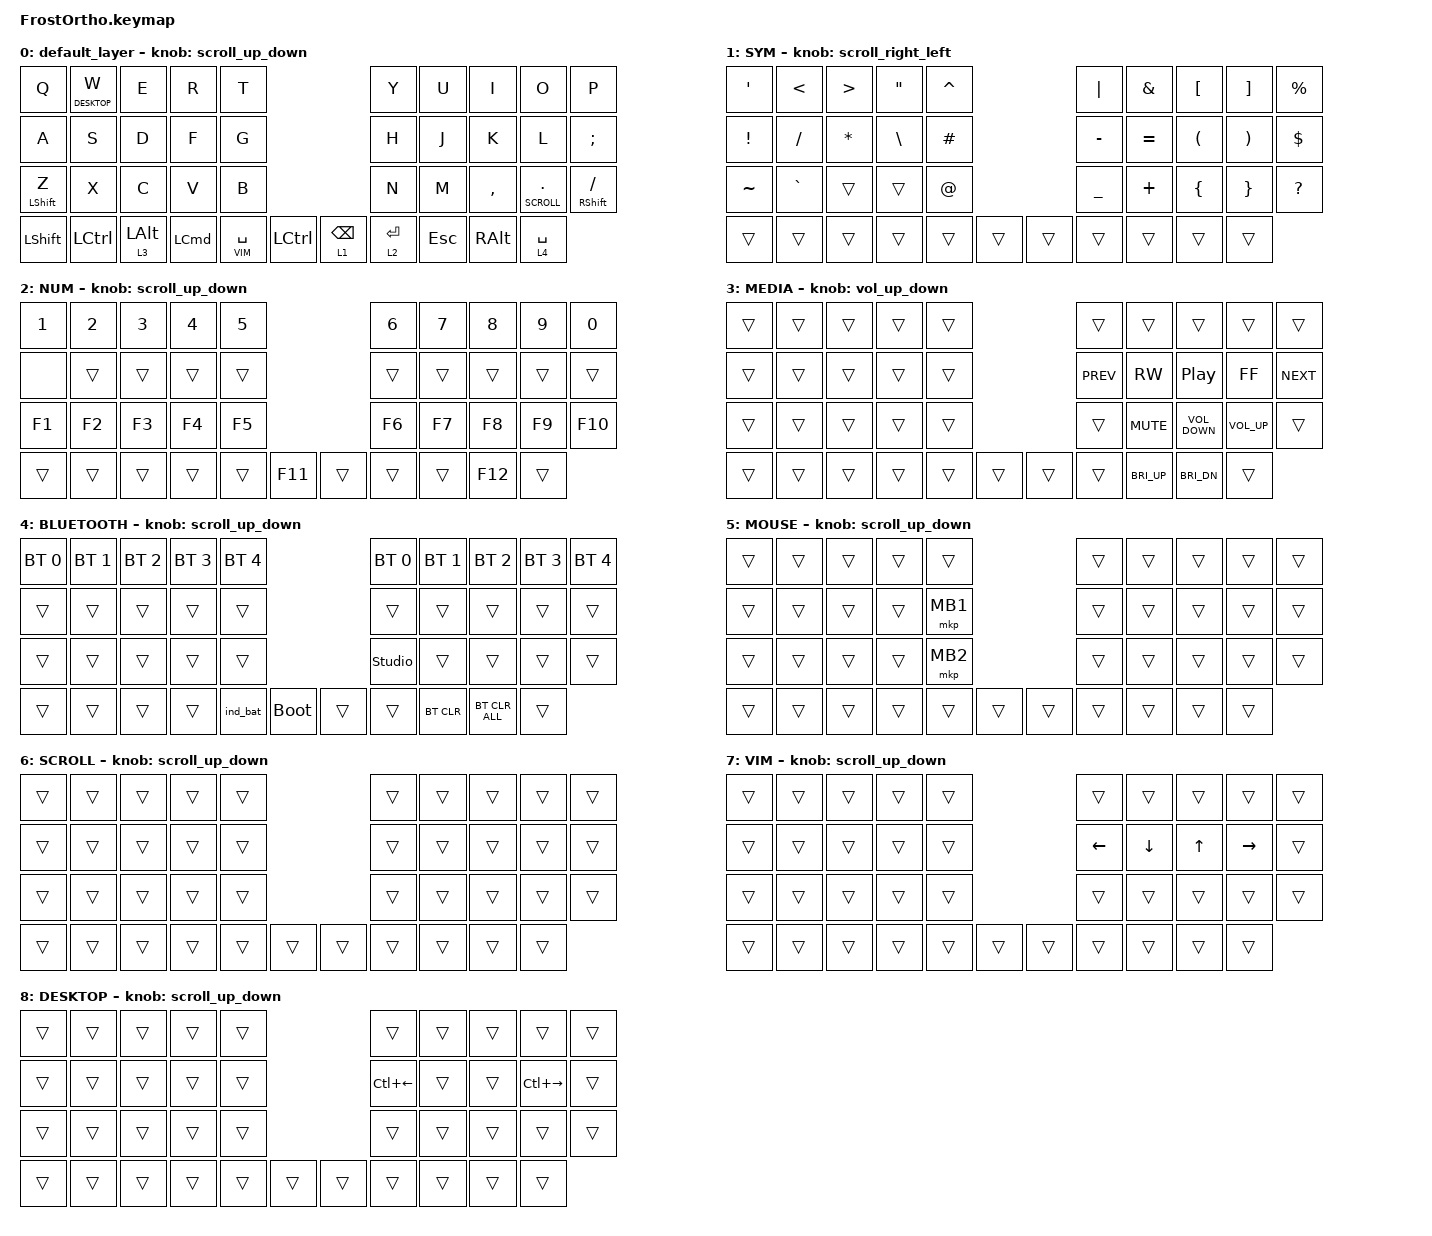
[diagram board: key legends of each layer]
#include <input/processors.dtsi>
#include <behaviors.dtsi>
#include <behaviors/rgbled_widget.dtsi>
#include <dt-bindings/zmk/bt.h>
#include <dt-bindings/zmk/keys.h>
#include <dt-bindings/zmk/pointing.h>
#include <behaviors/runtime-sensor-rotate.dtsi>

#define ZMK_POINTING_DEFAULT_SCRL_VAL 200  // 捲動量（為4K螢幕加倍）
#define MOUSE 5    // 滑鼠層（軌跡球自動切層目標）
#define SCROLL 6   // 捲動層（軌跡球變捲輪）
#define VIM 7      // Vim方向鍵層（H/J/K/L）
#define DESKTOP 8  // 桌面切換層（長按W啟用）

&mt {
    flavor = "balanced";
    quick-tap-ms = <0>;
    require-prior-idle-ms = <150>;   // 快速打字時直接判定tap，消除黏滯感
};

&lt {
    tapping-term-ms = <200>;
    quick-tap-ms = <200>;
    flavor = "balanced";
};

// AML 點擊時延長自動滑鼠層超時
&mkp_input_listener { input-processors = <&zip_temp_layer MOUSE 250>; };

/ {
    combos {
        compatible = "zmk,combos";

        layer4_ESC {
            bindings = <&lt 4 ESC>;
            key-positions = <36 35>;  // 左右內側拇指鍵同按 → 按住=藍牙層，點按=ESC
        };

        tab {
            bindings = <&kp TAB>;
            key-positions = <1 2>;    // W+E = Tab
            slow-release;
        };

        enter {
            bindings = <&kp ENTER>;
            key-positions = <16 17>;  // J+K = Enter
            slow-release;
        };

        input_switch {
            bindings = <&input_tap>;
            key-positions = <11 12>;  // S+D = 切換輸入法
            slow-release;
        };
    };

    macros {
        to_layer_0: to_layer_0 {
            compatible = "zmk,behavior-macro-one-param";
            #binding-cells = <1>;
            bindings = <&to 0 &macro_param_1to1 &kp MACRO_PLACEHOLDER>;
            label = "TO_LAYER_0";
        };

        input_tap: input_tap {  // Ctrl+Space 單次點按，不會因按住而重複
            compatible = "zmk,behavior-macro";
            #binding-cells = <0>;
            bindings = <&macro_tap &kp LC(SPACE)>;
            label = "INPUT_TAP";
        };
    };

    behaviors {
        lt_to_layer_0: lt_to_layer_0 {
            compatible = "zmk,behavior-hold-tap";
            label = "LAYER_TAP_TO_0";
            bindings = <&mo>, <&to_layer_0>;

            #binding-cells = <2>;
            tapping-term-ms = <200>;
        };
        // Keymap Editor用
        scroll_up_down: behavior_sensor_rotate_mouse_wheel_up_down {
            compatible = "zmk,behavior-sensor-rotate";
            #sensor-binding-cells = <0>;
            tap-ms = <20>;
            bindings = <&msc SCRL_UP>, <&msc SCRL_DOWN>;
        };
        scroll_right_left: mouse_wheel_right_left {
            compatible = "zmk,behavior-sensor-rotate";
            #sensor-binding-cells = <0>;
            bindings = <&msc SCRL_LEFT>, <&msc SCRL_RIGHT>;
            tap-ms = <20>;
        };
        vol_up_down: vol_up_down {
            compatible = "zmk,behavior-sensor-rotate";
            #sensor-binding-cells = <0>;
            tap-ms = <5>;
            bindings = <&kp C_VOL_DN>, <&kp C_VOL_UP>;
        };
        // DYA Studio用
        rsr_vol: rsr_vol {
            compatible = "zmk,behavior-runtime-sensor-rotate";
            #sensor-binding-cells = <0>;
            tap-ms = <5>;
            cw-binding = <&kp C_VOL_DN>;
            ccw-binding = <&kp C_VOL_UP>;
        };
    };

    keymap {
        compatible = "zmk,keymap";

        default_layer {  // Layer 0 - QWERTY
            bindings = <
&kp Q             &lt DESKTOP W  &kp E           &kp R             &kp T                                                &kp Y                   &kp U           &kp I      &kp O              &kp P
&kp A             &kp S          &kp D           &kp F             &kp G                                                &kp H                   &kp J           &kp K      &kp L              &kp SEMICOLON
&mt LEFT_SHIFT Z  &kp X          &kp C           &kp V             &kp B                                                &kp N                   &kp M           &kp COMMA  &lt SCROLL DOT     &mt RIGHT_SHIFT SLASH
&kp LEFT_SHIFT    &kp LCTRL      &lt 3 LEFT_ALT  &kp LEFT_COMMAND  &lt VIM SPACE  &kp LCTRL      &lt 1 BACKSPACE          &lt_to_layer_0 2 ENTER  &kp ESC         &kp RIGHT_ALT          &lt 4 SPACE
            >;

            sensor-bindings = <&scroll_up_down>;  // Encoder: 縦スクロール
        };

        SYM {  // Layer 1 - 符號層
            bindings = <
&kp SINGLE_QUOTE  &kp LESS_THAN  &kp GREATER_THAN  &kp DOUBLE_QUOTES  &kp CARET                        &kp PIPE        &kp AMPERSAND  &kp LEFT_BRACKET      &kp RIGHT_BRACKET      &kp PERCENT
&kp EXCLAMATION   &kp SLASH      &kp ASTRK         &kp BACKSLASH      &kp HASH                         &kp MINUS       &kp EQUAL      &kp LEFT_PARENTHESIS  &kp RIGHT_PARENTHESIS  &kp DOLLAR
&kp TILDE         &kp GRAVE      &trans            &trans             &kp AT_SIGN                       &kp UNDERSCORE  &kp PLUS       &kp LEFT_BRACE        &kp RIGHT_BRACE        &kp QUESTION
&trans            &trans         &trans            &trans             &trans       &trans      &trans    &trans          &trans         &trans                 &trans
            >;

            sensor-bindings = <&scroll_right_left>;  // Encoder: 横スクロール
        };

        NUM {  // Layer 2 - 數字與F鍵層
            bindings = <
&kp NUMBER_1  &kp NUMBER_2  &kp NUMBER_3  &kp NUMBER_4  &kp NUMBER_5                        &kp NUMBER_6  &kp NUMBER_7  &kp NUMBER_8  &kp NUMBER_9  &kp N0
&none         &trans        &trans        &trans        &trans                               &trans        &trans        &trans        &trans        &trans
&kp F1        &kp F2        &kp F3        &kp F4        &kp F5                               &kp F6        &kp F7        &kp F8        &kp F9        &kp F10
&trans        &trans        &trans        &trans        &trans       &kp F11      &trans      &trans        &trans        &kp F12       &trans
            >;

            sensor-bindings = <&scroll_up_down>;  // Encoder: 縦スクロール
        };

        MEDIA {  // Layer 3 - 媒體控制層
            bindings = <
&trans  &trans  &trans  &trans  &trans                        &trans      &trans      &trans             &trans           &trans
&trans  &trans  &trans  &trans  &trans                        &kp C_PREV  &kp C_RW    &kp C_PLAY_PAUSE   &kp C_FF         &kp C_NEXT
&trans  &trans  &trans  &trans  &trans                        &trans      &kp C_MUTE  &kp C_VOLUME_DOWN  &kp C_VOLUME_UP  &trans
&trans  &trans  &trans  &trans  &trans  &trans      &trans    &trans      &kp C_BRI_UP  &kp C_BRI_DN     &trans
            >;

            sensor-bindings = <&vol_up_down>;  // Encoder: 音量調整
        };

        BLUETOOTH {  // Layer 4 - 藍牙設定層
            bindings = <
&bt BT_SEL 0  &bt BT_SEL 1  &bt BT_SEL 2  &bt BT_SEL 3  &bt BT_SEL 4                                     &bt BT_SEL 0    &bt BT_SEL 1  &bt BT_SEL 2    &bt BT_SEL 3    &bt BT_SEL 4
&trans        &trans        &trans        &trans        &trans                                              &trans          &trans        &trans          &trans          &trans
&trans        &trans        &trans        &trans        &trans                                              &studio_unlock  &trans        &trans          &trans          &trans
&trans        &trans        &trans        &trans        &ind_bat     &bootloader      &trans                 &trans          &bt BT_CLR    &bt BT_CLR_ALL  &trans
            >;

            sensor-bindings = <&scroll_up_down>;  // Encoder: 縦スクロール
        };

        MOUSE {  // Layer 5 - 軌跡球移動時自動切換，G=左鍵、B=右鍵
            bindings = <
&trans  &trans  &trans  &trans  &trans                         &trans  &trans  &trans  &trans  &trans
&trans  &trans  &trans  &trans  &mkp MB1                       &trans  &trans  &trans  &trans  &trans
&trans  &trans  &trans  &trans  &mkp MB2                       &trans  &trans  &trans  &trans  &trans
&trans  &trans  &trans  &trans  &trans    &trans      &trans    &trans  &trans  &trans  &trans
            >;

            sensor-bindings = <&scroll_up_down>;  // Encoder: 縦スクロール
        };

        SCROLL {  // Layer 6 - 長按DOT啟用，軌跡球變捲輪模式
            bindings = <
&trans  &trans  &trans  &trans  &trans                         &trans  &trans  &trans  &trans  &trans
&trans  &trans  &trans  &trans  &trans                         &trans  &trans  &trans  &trans  &trans
&trans  &trans  &trans  &trans  &trans                         &trans  &trans  &trans  &trans  &trans
&trans  &trans  &trans  &trans  &trans    &trans      &trans    &trans  &trans  &trans  &trans
            >;

            sensor-bindings = <&scroll_up_down>;  // Encoder: 縦スクロール
        };

        VIM {  // Layer 7 - 按住Space啟用，H=左 J=下 K=上 L=右
            bindings = <
&trans  &trans  &trans  &trans  &trans                         &trans    &trans    &trans  &trans     &trans
&trans  &trans  &trans  &trans  &trans                         &kp LEFT  &kp DOWN  &kp UP  &kp RIGHT  &trans
&trans  &trans  &trans  &trans  &trans                         &trans    &trans    &trans  &trans     &trans
&trans  &trans  &trans  &trans  &trans    &trans      &trans    &trans    &trans    &trans  &trans
            >;

            sensor-bindings = <&scroll_up_down>;  // Encoder: 縦スクロール
        };

        DESKTOP {  // Layer 8 - 長按W啟用，H=切左桌面 L=切右桌面（macOS Ctrl+Left/Right）
            bindings = <
&trans  &trans  &trans  &trans  &trans                         &trans        &trans  &trans  &trans         &trans
&trans  &trans  &trans  &trans  &trans                         &kp LC(LEFT)  &trans  &trans  &kp LC(RIGHT)  &trans
&trans  &trans  &trans  &trans  &trans                         &trans        &trans  &trans  &trans         &trans
&trans  &trans  &trans  &trans  &trans    &trans      &trans    &trans        &trans  &trans  &trans
            >;

            sensor-bindings = <&scroll_up_down>;  // Encoder: 縦スクロール
        };
    };
};
